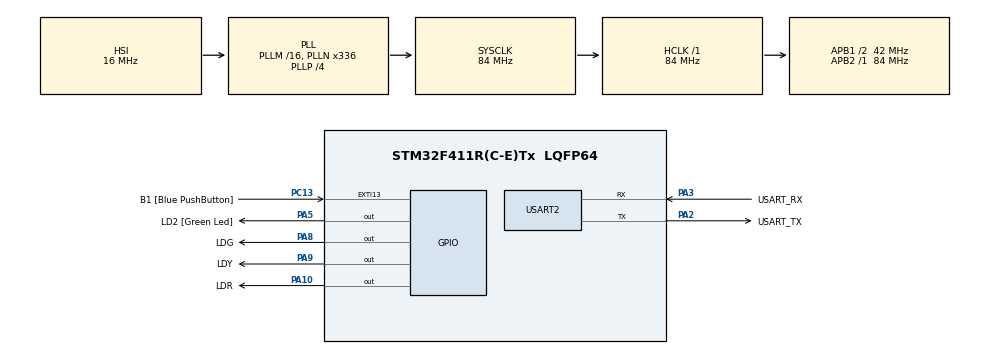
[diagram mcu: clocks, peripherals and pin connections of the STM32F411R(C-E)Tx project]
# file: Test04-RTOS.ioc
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FREERTOS.BinarySemaphores01=myBinarySem01,Dynamic,NULL
FREERTOS.Tasks01=myTask01,0,128,StartTask01,Default,NULL,Dynamic,NULL,NULL;myTask02,-1,128,StartTask02,Default,NULL,Dynamic,NULL,NULL;myTask03,-2,128,StartTask03,Default,NULL,Dynamic,NULL,NULL;myTask04,-3,128,StartTask04,Default,NULL,Dynamic,NULL,NULL
FREERTOS.configUSE_NEWLIB_REENTRANT=1
Mcu.Family=STM32F4
Mcu.Name=STM32F411R(C-E)Tx
Mcu.Package=LQFP64
NVIC.EXTI15_10_IRQn=true\:5\:0\:false\:false\:true\:true\:true\:true\:true
NVIC.PriorityGroup=NVIC_PRIORITYGROUP_4
NVIC.TIM1_TRG_COM_TIM11_IRQn=true\:15\:0\:false\:false\:true\:false\:false\:true\:true
NVIC.TimeBase=TIM1_TRG_COM_TIM11_IRQn
NVIC.TimeBaseIP=TIM11
PA10.GPIO_Label=LDR
PA10.Signal=GPIO_Output
PA13.GPIO_Label=TMS
PA13.Mode=Serial_Wire
PA13.Signal=SYS_JTMS-SWDIO
PA14.GPIO_Label=TCK
PA14.Mode=Serial_Wire
PA14.Signal=SYS_JTCK-SWCLK
PA2.GPIO_Label=USART_TX
PA2.Mode=Asynchronous
PA2.Signal=USART2_TX
PA3.GPIO_Label=USART_RX
PA3.Mode=Asynchronous
PA3.Signal=USART2_RX
PA5.GPIO_Label=LD2 [Green Led]
PA5.Signal=GPIO_Output
PA8.GPIO_Label=LDG
PA8.Signal=GPIO_Output
PA9.GPIO_Label=LDY
PA9.Signal=GPIO_Output
PB3.GPIO_Label=SWO
PB3.Signal=SYS_JTDO-SWO
PC13-ANTI_TAMP.GPIO_Label=B1 [Blue PushButton]
PC13-ANTI_TAMP.GPIO_ModeDefaultEXTI=GPIO_MODE_IT_FALLING
PC13-ANTI_TAMP.Signal=GPXTI13
PC14-OSC32_IN.Mode=LSE-External-Oscillator
PC14-OSC32_IN.Signal=RCC_OSC32_IN
PC15-OSC32_OUT.Mode=LSE-External-Oscillator
PC15-OSC32_OUT.Signal=RCC_OSC32_OUT
PH0\ -\ OSC_IN.Mode=HSE-External-Clock-Source
PH0\ -\ OSC_IN.Signal=RCC_OSC_IN
PH1\ -\ OSC_OUT.Mode=HSE-External-Clock-Source
PH1\ -\ OSC_OUT.Signal=RCC_OSC_OUT
ProjectManager.HeapSize=0x200
ProjectManager.StackSize=0x400
ProjectManager.TargetToolchain=STM32CubeIDE
RCC.48MHZClocksFreq_Value=84000000
RCC.AHBFreq_Value=84000000
RCC.APB1CLKDivider=RCC_HCLK_DIV2
RCC.APB1Freq_Value=42000000
RCC.APB1TimFreq_Value=84000000
RCC.APB2Freq_Value=84000000
RCC.APB2TimFreq_Value=84000000
RCC.CortexFreq_Value=84000000
RCC.FLatency-AdvancedSettings=FLASH_LATENCY_2
RCC.HCLKFreq_Value=84000000
RCC.HSE_VALUE=8000000
RCC.HSI_VALUE=16000000
RCC.PLLN=336
RCC.PLLP=RCC_PLLP_DIV4
RCC.SYSCLKFreq_VALUE=84000000
RCC.SYSCLKSource=RCC_SYSCLKSOURCE_PLLCLK
RCC.VCOOutputFreq_Value=336000000
USART2.VirtualMode=VM_ASYNC
VP_FREERTOS_VS_CMSIS_V1.Mode=CMSIS_V1
VP_SYS_VS_tim11.Mode=TIM11
board=NUCLEO-F411RE

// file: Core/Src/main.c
/* USER CODE BEGIN Header */
/**
  ******************************************************************************
  * @file           : main.c
  * @brief          : Main program body
  ******************************************************************************
  * @attention
  *
  * Copyright (c) 2023 STMicroelectronics.
  * All rights reserved.
  *
  * This software is licensed under terms that can be found in the LICENSE file
  * in the root directory of this software component.
  * If no LICENSE file comes with this software, it is provided AS-IS.
  *
  ******************************************************************************
  */
/* USER CODE END Header */
#include "main.h"
#include "cmsis_os.h"

UART_HandleTypeDef huart2;

osThreadId myTask01Handle;
osThreadId myTask02Handle;
osThreadId myTask03Handle;
osThreadId myTask04Handle;
osSemaphoreId myBinarySem01Handle;
/* USER CODE BEGIN PV */
#include "../../../myLib/Src/myLib.c"
/* USER CODE END PV */

void SystemClock_Config(void);
static void MX_GPIO_Init(void);
static void MX_USART2_UART_Init(void);
void StartTask01(void const * argument);
void StartTask02(void const * argument);
void StartTask03(void const * argument);
void StartTask04(void const * argument);

/* USER CODE BEGIN PFP */
void HAL_GPIO_EXTI_Callback(uint16_t GPIO_Pin)
{
	if(GPIO_Pin == B1_Pin)
	{
		// release semaphore when button(B1) pushed
		osSemaphoreRelease(myBinarySem01Handle);
	}
}
/* USER CODE END PFP */

int main(void)
{

  /* MCU Configuration--------------------------------------------------------*/

  /* Reset of all peripherals, Initializes the Flash interface and the Systick. */
  HAL_Init();

  /* Configure the system clock */
  SystemClock_Config();

  /* Initialize all configured peripherals */
  MX_GPIO_Init();
  MX_USART2_UART_Init();
  /* USER CODE BEGIN 2 */
  printf("\033[1J\033[1;1HRTOS Test Program Started.....\r\n");
  printf("press B1 button to release Semaphore...\r\n");

  int n = 0;
  /* USER CODE END 2 */

  /* Create the semaphores(s) */
  /* definition and creation of myBinarySem01 */
  osSemaphoreDef(myBinarySem01);
  myBinarySem01Handle = osSemaphoreCreate(osSemaphore(myBinarySem01), 1);

  /* Create the thread(s) */
  /* definition and creation of myTask01 */
  osThreadDef(myTask01, StartTask01, osPriorityNormal, 0, 128);
  myTask01Handle = osThreadCreate(osThread(myTask01), NULL);

  /* definition and creation of myTask02 */
  osThreadDef(myTask02, StartTask02, osPriorityBelowNormal, 0, 128);
  myTask02Handle = osThreadCreate(osThread(myTask02), NULL);

  /* definition and creation of myTask03 */
  osThreadDef(myTask03, StartTask03, osPriorityLow, 0, 128);
  myTask03Handle = osThreadCreate(osThread(myTask03), NULL);

  /* definition and creation of myTask04 */
  osThreadDef(myTask04, StartTask04, osPriorityIdle, 0, 128);
  myTask04Handle = osThreadCreate(osThread(myTask04), NULL);

  /* USER CODE BEGIN RTOS_THREADS */
  /* add threads, ... */

  while(osSemaphoreWait(myBinarySem01Handle, 10) == osOK)
  /* USER CODE END RTOS_THREADS */

  /* Start scheduler */
  osKernelStart();

  /* We should never get here as control is now taken by the scheduler */
  /* Infinite loop */
  /* USER CODE BEGIN WHILE */

  while (1)
  {
	  // in RTOS don't use while loop

	  // controlled in main()

	  printf("in Main procedure......%d\r\n", n++);

	  HAL_GPIO_TogglePin(LDR_GPIO_Port, LDR_Pin);
	  HAL_GPIO_TogglePin(LDG_GPIO_Port, LDG_Pin);
	  HAL_GPIO_TogglePin(LDY_GPIO_Port, LDY_Pin);
	  HAL_Delay(500);

    /* USER CODE END WHILE */

  }
}

void SystemClock_Config(void)
{
  RCC_OscInitTypeDef RCC_OscInitStruct = {0};
  RCC_ClkInitTypeDef RCC_ClkInitStruct = {0};

  /** Configure the main internal regulator output voltage
  */
  __HAL_RCC_PWR_CLK_ENABLE();
  __HAL_PWR_VOLTAGESCALING_CONFIG(PWR_REGULATOR_VOLTAGE_SCALE1);

  /** Initializes the RCC Oscillators according to the specified parameters
  * in the RCC_OscInitTypeDef structure.
  */
  RCC_OscInitStruct.OscillatorType = RCC_OSCILLATORTYPE_HSI;
  RCC_OscInitStruct.HSIState = RCC_HSI_ON;
  RCC_OscInitStruct.HSICalibrationValue = RCC_HSICALIBRATION_DEFAULT;
  RCC_OscInitStruct.PLL.PLLState = RCC_PLL_ON;
  RCC_OscInitStruct.PLL.PLLSource = RCC_PLLSOURCE_HSI;
  RCC_OscInitStruct.PLL.PLLM = 16;
  RCC_OscInitStruct.PLL.PLLN = 336;
  RCC_OscInitStruct.PLL.PLLP = RCC_PLLP_DIV4;
  RCC_OscInitStruct.PLL.PLLQ = 4;
  if (HAL_RCC_OscConfig(&RCC_OscInitStruct) != HAL_OK)
  {
    Error_Handler();
  }

  /** Initializes the CPU, AHB and APB buses clocks
  */
  RCC_ClkInitStruct.ClockType = RCC_CLOCKTYPE_HCLK|RCC_CLOCKTYPE_SYSCLK
                              |RCC_CLOCKTYPE_PCLK1|RCC_CLOCKTYPE_PCLK2;
  RCC_ClkInitStruct.SYSCLKSource = RCC_SYSCLKSOURCE_PLLCLK;
  RCC_ClkInitStruct.AHBCLKDivider = RCC_SYSCLK_DIV1;
  RCC_ClkInitStruct.APB1CLKDivider = RCC_HCLK_DIV2;
  RCC_ClkInitStruct.APB2CLKDivider = RCC_HCLK_DIV1;

  if (HAL_RCC_ClockConfig(&RCC_ClkInitStruct, FLASH_LATENCY_2) != HAL_OK)
  {
    Error_Handler();
  }
}

static void MX_USART2_UART_Init(void)
{

  huart2.Instance = USART2;
  huart2.Init.BaudRate = 115200;
  huart2.Init.WordLength = UART_WORDLENGTH_8B;
  huart2.Init.StopBits = UART_STOPBITS_1;
  huart2.Init.Parity = UART_PARITY_NONE;
  huart2.Init.Mode = UART_MODE_TX_RX;
  huart2.Init.HwFlowCtl = UART_HWCONTROL_NONE;
  huart2.Init.OverSampling = UART_OVERSAMPLING_16;
  if (HAL_UART_Init(&huart2) != HAL_OK)
  {
    Error_Handler();
  }

}

static void MX_GPIO_Init(void)
{
  GPIO_InitTypeDef GPIO_InitStruct = {0};

  /* GPIO Ports Clock Enable */
  __HAL_RCC_GPIOC_CLK_ENABLE();
  __HAL_RCC_GPIOH_CLK_ENABLE();
  __HAL_RCC_GPIOA_CLK_ENABLE();
  __HAL_RCC_GPIOB_CLK_ENABLE();

  /*Configure GPIO pin Output Level */
  HAL_GPIO_WritePin(GPIOA, LD2_Pin|LDG_Pin|LDY_Pin|LDR_Pin, GPIO_PIN_RESET);

  /*Configure GPIO pin : B1_Pin */
  GPIO_InitStruct.Pin = B1_Pin;
  GPIO_InitStruct.Mode = GPIO_MODE_IT_FALLING;
  GPIO_InitStruct.Pull = GPIO_NOPULL;
  HAL_GPIO_Init(B1_GPIO_Port, &GPIO_InitStruct);

  /*Configure GPIO pins : LD2_Pin LDG_Pin LDY_Pin LDR_Pin */
  GPIO_InitStruct.Pin = LD2_Pin|LDG_Pin|LDY_Pin|LDR_Pin;
  GPIO_InitStruct.Mode = GPIO_MODE_OUTPUT_PP;
  GPIO_InitStruct.Pull = GPIO_NOPULL;
  GPIO_InitStruct.Speed = GPIO_SPEED_FREQ_LOW;
  HAL_GPIO_Init(GPIOA, &GPIO_InitStruct);

  /* EXTI interrupt init*/
  HAL_NVIC_SetPriority(EXTI15_10_IRQn, 5, 0);
  HAL_NVIC_EnableIRQ(EXTI15_10_IRQn);

}

void StartTask01(void const * argument)
{
  /* USER CODE BEGIN 5 */
	int n = 0;
  /* Infinite loop */
  for(;;)
  {
	  if(osSemaphoreWait(myBinarySem01Handle, 0) == osOK) // check about semaphore gets
	  {
		  printf("\033[3;1Hin Task 01......%d   \r\n", n++);

		  HAL_GPIO_TogglePin(LDR_GPIO_Port, LDR_Pin);
		  // HAL_Delay() can't change task, just delay the working task

		  osSemaphoreRelease(myBinarySem01Handle); // release semaphore
	  }

    osDelay(1);
  }
  /* USER CODE END 5 */
}

void StartTask02(void const * argument)
{
  /* USER CODE BEGIN StartTask02 */
	int n = 0;
  /* Infinite loop */
  for(;;)
  {
	  if(osSemaphoreWait(myBinarySem01Handle, 0) == osOK)
	  {
		  printf("\033[5;1Hin Task 02......%d   \r\n", n++);

		  HAL_GPIO_TogglePin(LDG_GPIO_Port, LDG_Pin);

		  osSemaphoreRelease(myBinarySem01Handle);
	  }

    osDelay(1);
  }
  /* USER CODE END StartTask02 */
}

void StartTask03(void const * argument)
{
  /* USER CODE BEGIN StartTask03 */
	int n = 0;
  /* Infinite loop */
  for(;;)
  {
	  if(osSemaphoreWait(myBinarySem01Handle, 0) == osOK)
	  {
		  printf("\033[7;1Hin Task 03......%d   \r\n", n++);

		  HAL_GPIO_TogglePin(LDY_GPIO_Port, LDY_Pin);

		  osSemaphoreRelease(myBinarySem01Handle);
	  }

    osDelay(1);
  }
  /* USER CODE END StartTask03 */
}

void StartTask04(void const * argument)
{
  /* USER CODE BEGIN StartTask04 */
	int n = 0;
  /* Infinite loop */
  for(;;)
  {
	  if(osSemaphoreWait(myBinarySem01Handle, 10) == osOK)
	  {
		  printf("\033[9;1Hin Task 04......%d   \r\n", n++);

		  HAL_GPIO_TogglePin(GPIOA, GPIO_PIN_5);

		  osSemaphoreRelease(myBinarySem01Handle);
	  }

    osDelay(1);
  }
  /* USER CODE END StartTask04 */
}

void HAL_TIM_PeriodElapsedCallback(TIM_HandleTypeDef *htim)
{
  if (htim->Instance == TIM11) {
    HAL_IncTick();
  }
}

void Error_Handler(void)
{
  __disable_irq();
  while (1)
  {
  }
}
